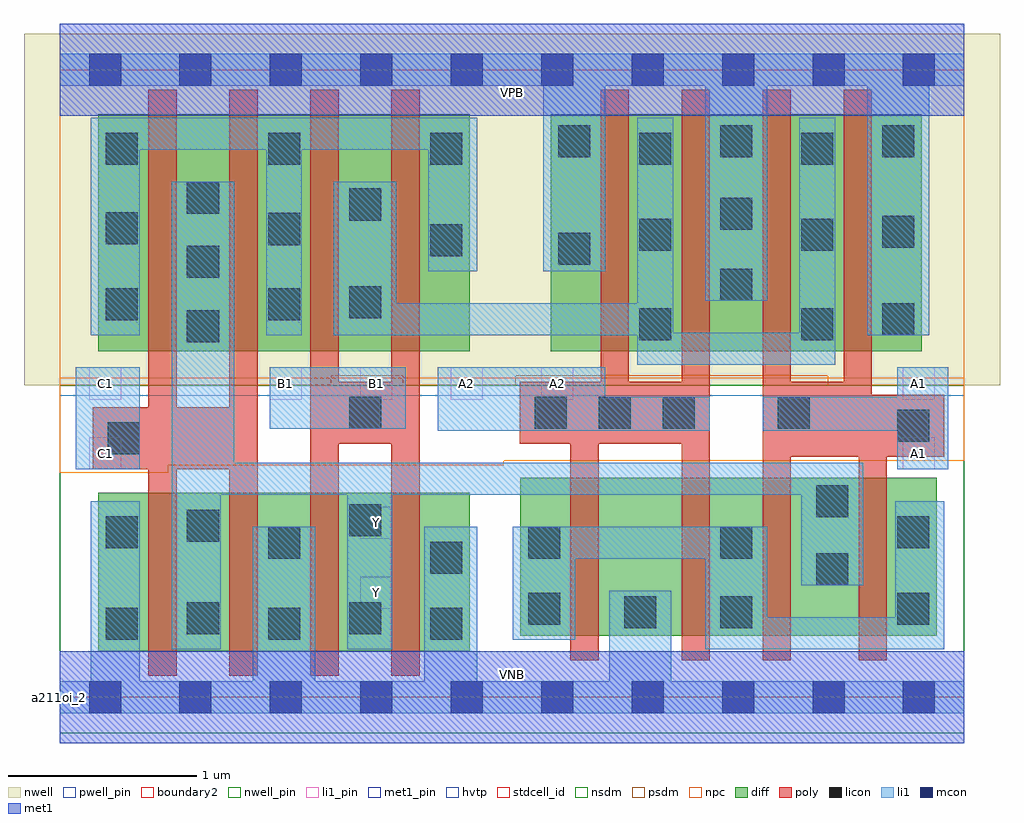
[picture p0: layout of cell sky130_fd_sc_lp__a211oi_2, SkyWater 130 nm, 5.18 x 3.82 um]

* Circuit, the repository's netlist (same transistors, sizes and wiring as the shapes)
* Copyright 2020 The SkyWater PDK Authors
*
* Licensed under the Apache License, Version 2.0 (the "License");
* you may not use this file except in compliance with the License.
* You may obtain a copy of the License at
*
*     https://www.apache.org/licenses/LICENSE-2.0
*
* Unless required by applicable law or agreed to in writing, software
* distributed under the License is distributed on an "AS IS" BASIS,
* WITHOUT WARRANTIES OR CONDITIONS OF ANY KIND, either express or implied.
* See the License for the specific language governing permissions and
* limitations under the License.
*
* SPDX-License-Identifier: Apache-2.0

.SUBCKT sky130_fd_sc_lp__a211oi_2 A1 A2 B1 C1 VGND VNB VPB VPWR Y
*.PININFO A1:I A2:I B1:I C1:I VGND:I VNB:I VPB:I VPWR:I Y:O
MMPA0 pndA A1 VPWR VPB sky130_fd_pr__pfet_01v8_hvt m=2 w=1.26U l=0.15U mult=1 sa=0.265
+ sb=0.265 sd=0.28 area=0.063 perim=1.14
MMPA1 pndA A2 VPWR VPB sky130_fd_pr__pfet_01v8_hvt m=2 w=1.26U l=0.15U mult=1 sa=0.265
+ sb=0.265 sd=0.28 area=0.063 perim=1.14
MMPB0 pndB B1 pndA VPB sky130_fd_pr__pfet_01v8_hvt m=2 w=1.26U l=0.15U mult=1 sa=0.265
+ sb=0.265 sd=0.28 area=0.063 perim=1.14
MMPC0 Y C1 pndB VPB sky130_fd_pr__pfet_01v8_hvt m=2 w=1.26U l=0.15U mult=1 sa=0.265
+ sb=0.265 sd=0.28 area=0.063 perim=1.14
MMNA0 Y A1 sndA1 VNB sky130_fd_pr__nfet_01v8 m=2 w=0.84U l=0.15U mult=1 sa=0.265
+ sb=0.265 sd=0.28 area=0.063 perim=1.14
MMNA1 sndA1 A2 VGND VNB sky130_fd_pr__nfet_01v8 m=2 w=0.84U l=0.15U mult=1 sa=0.265
+ sb=0.265 sd=0.28 area=0.063 perim=1.14
MMNB0 Y B1 VGND VNB sky130_fd_pr__nfet_01v8 m=2 w=0.84U l=0.15U mult=1 sa=0.265
+ sb=0.265 sd=0.28 area=0.063 perim=1.14
MMNC0 Y C1 VGND VNB sky130_fd_pr__nfet_01v8 m=2 w=0.84U l=0.15U mult=1 sa=0.265
+ sb=0.265 sd=0.28 area=0.063 perim=1.14
.ENDS sky130_fd_sc_lp__a211oi_2

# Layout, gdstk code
import gdstk
lib = gdstk.Library(unit=1e-6, precision=1e-09)
def R(c, l, rs):  # rectangles x0, y0, x1, y1
    for r in rs: c.add(gdstk.rectangle(r[:2], r[2:], *l))
def A(c, l, x, y, w, h, nx, ny, dx, dy):  # array of equal rectangles
    R(c, l, [(x+i*dx, y+j*dy, x+i*dx+w, y+j*dy+h) for i in range(nx) for j in range(ny)])
def P(c, l, *ps):  # polygons
    for p in ps: c.add(gdstk.Polygon(p, *l))
nwell_pin = (64, 16)
nwell = (64, 20)
diff = (65, 20)
poly = (66, 20)
licon = (66, 44)
li1_pin = (67, 16)
li1 = (67, 20)
mcon = (67, 44)
met1_pin = (68, 16)
met1 = (68, 20)
hvtp = (78, 44)
stdcell_id = (81, 4)
nsdm = (93, 44)
psdm = (94, 20)
npc = (95, 20)
pwell_pin = (122, 16)
boundary2 = (236, 0)

sky130_fd_sc_lp__a211oi_ = lib.new_cell('sky130_fd_sc_lp__a211oi_2')
R(sky130_fd_sc_lp__a211oi_, nwell_pin, [(0,3.085,4.8,3.33)])
R(sky130_fd_sc_lp__a211oi_, nwell, [(-0.19,1.655,4.99,3.52)])
R(sky130_fd_sc_lp__a211oi_, diff, [(0.205,0.245,2.175,1.085), (2.445,0.325,4.655,1.165), (0.205,1.835,2.175,3.095), (2.605,1.835,4.575,3.095)])
P(sky130_fd_sc_lp__a211oi_, poly, [(1.05,3.225),(0.9,3.225),(0.9,1.54),(0.62,1.54),(0.62,3.225),(0.47,3.225),(0.47,1.54),(0.175,1.54),(0.175,1.21),(0.47,1.21),(0.47,0.115),(0.62,0.115),(0.62,1.21),(0.9,1.21),(0.9,0.115),(1.05,0.115)],
  [(1.91,3.225),(1.76,3.225),(1.76,1.675),(1.48,1.675),(1.48,3.225),(1.33,3.225),(1.33,0.115),(1.48,0.115),(1.48,1.345),(1.76,1.345),(1.76,0.115),(1.91,0.115)],
  [(3.45,3.225),(3.3,3.225),(3.3,1.675),(3.02,1.675),(3.02,3.225),(2.87,3.225),(2.87,1.675),(2.44,1.675),(2.44,1.345),(2.71,1.345),(2.71,0.195),(2.86,0.195),(2.86,1.345),(3.3,1.345),(3.3,0.195),(3.45,0.195)],
  [(4.695,1.605),(4.31,1.605),(4.31,3.225),(4.16,3.225),(4.16,1.675),(3.88,1.675),(3.88,3.225),(3.73,3.225),(3.73,0.195),(3.88,0.195),(3.88,1.275),(4.24,1.275),(4.24,0.195),(4.39,0.195),(4.39,1.275),(4.695,1.275)])
A(sky130_fd_sc_lp__a211oi_, licon, 0.245, 0.305, 0.17, 0.17, 3, 2, 0.86, 2.52)
A(sky130_fd_sc_lp__a211oi_, licon, 2.52, 1.425, 0.17, 0.17, 3, 1, 0.34, 0)
A(sky130_fd_sc_lp__a211oi_, licon, 0.675, 1.885, 0.17, 0.17, 1, 3, 0, 0.34)
A(sky130_fd_sc_lp__a211oi_, licon, 2.645, 2.865, 0.17, 0.17, 3, 1, 0.86, 0)
R(sky130_fd_sc_lp__a211oi_, licon, [(0.675,0.335,0.845,0.505), (1.535,0.335,1.705,0.505), (2.995,0.365,3.165,0.535), (3.505,0.365,3.675,0.535), (2.485,0.385,2.655,0.555), (4.445,0.385,4.615,0.555), (4.015,0.595,4.185,0.765), (1.965,0.655,2.135,0.825), (1.105,0.735,1.275,0.905), (2.485,0.735,2.655,0.905), (3.505,0.735,3.675,0.905), (0.245,0.79,0.415,0.96), (4.445,0.79,4.615,0.96), (0.675,0.825,0.845,0.995), (1.535,0.855,1.705,1.025), (4.015,0.955,4.185,1.125), (0.255,1.29,0.425,1.46), (4.445,1.355,4.615,1.525), (1.535,1.425,1.705,1.595), (3.81,1.425,3.98,1.595), (3.075,1.895,3.245,2.065), (3.935,1.895,4.105,2.065), (4.365,1.92,4.535,2.09), (0.245,2,0.415,2.17), (1.105,2,1.275,2.17), (1.535,2.01,1.705,2.18), (3.505,2.105,3.675,2.275), (2.645,2.295,2.815,2.465), (1.965,2.34,2.135,2.51), (3.075,2.37,3.245,2.54), (3.935,2.37,4.105,2.54), (4.365,2.385,4.535,2.555), (1.105,2.4,1.275,2.57), (0.245,2.405,0.415,2.575), (3.505,2.48,3.675,2.65), (1.535,2.53,1.705,2.7), (3.075,2.825,3.245,2.995), (3.935,2.825,4.105,2.995)])
A(sky130_fd_sc_lp__a211oi_, li1_pin, 1.115, 1.58, 0.17, 0.17, 4, 1, 0.48, 0)
R(sky130_fd_sc_lp__a211oi_, li1_pin, [(1.595,0.47,1.765,0.64), (1.595,0.84,1.765,1.01), (0.155,1.21,0.325,1.38), (4.475,1.21,4.645,1.38), (0.155,1.58,0.325,1.75), (4.475,1.58,4.645,1.75)])
R(sky130_fd_sc_lp__a211oi_, li1, [(0.085,1.21,0.425,1.75), (1.115,1.425,1.835,1.75)])
P(sky130_fd_sc_lp__a211oi_, li1, [(2.565,2.26),(2.565,3.245),(0,3.245),(0,3.415),(4.8,3.415),(4.8,3.245),(4.615,3.245),(4.615,1.92),(4.285,1.92),(4.285,3.245),(3.755,3.245),(3.755,2.105),(3.425,2.105),(3.425,3.245),(2.895,3.245),(2.895,2.26)],
  [(1.935,0.085),(1.935,0.905),(2.215,0.905),(2.215,0.085),(2.915,0.085),(2.915,0.565),(3.245,0.565),(3.245,0.085),(4.8,0.085),(4.8,-0.085),(0,-0.085),(0,0.085),(0.165,0.085),(0.165,1.04),(0.425,1.04),(0.425,0.085),(1.025,0.085),(1.025,0.905),(1.355,0.905),(1.355,0.085)],
  [(1.525,0.255),(1.525,1.075),(0.855,1.075),(0.855,0.255),(0.595,0.255),(0.595,2.735),(0.925,2.735),(0.925,1.245),(4.265,1.245),(4.265,0.595),(3.935,0.595),(3.935,1.075),(1.765,1.075),(1.765,0.255)],
  [(4.715,1.75),(4.445,1.75),(4.445,1.595),(3.73,1.595),(3.73,1.415),(4.445,1.415),(4.445,1.21),(4.715,1.21)],
  [(3.45,1.595),(2.895,1.595),(2.895,1.75),(2.005,1.75),(2.005,1.415),(3.45,1.415)],
  [(3.255,1.935),(3.925,1.935),(3.925,3.075),(4.115,3.075),(4.115,1.765),(3.065,1.765),(3.065,1.92),(1.455,1.92),(1.455,2.735),(1.785,2.735),(1.785,2.09),(3.065,2.09),(3.065,3.075),(3.255,3.075)],
  [(1.955,2.905),(1.285,2.905),(1.285,1.92),(1.095,1.92),(1.095,2.905),(0.425,2.905),(0.425,1.92),(0.165,1.92),(0.165,3.075),(2.215,3.075),(2.215,2.26),(1.955,2.26)],
  [(3.755,0.425),(4.435,0.425),(4.435,1.04),(4.695,1.04),(4.695,0.255),(3.425,0.255),(3.425,0.735),(2.735,0.735),(2.735,0.305),(2.405,0.305),(2.405,0.905),(3.755,0.905)])
A(sky130_fd_sc_lp__a211oi_, mcon, 0.155, -0.085, 0.17, 0.17, 10, 2, 0.48, 3.33)
R(sky130_fd_sc_lp__a211oi_, met1_pin, [(0,0,4.8,0.245), (0,3.085,4.8,3.33)])
R(sky130_fd_sc_lp__a211oi_, met1, [(0,-0.245,4.8,0.245), (0,3.085,4.8,3.575)])
R(sky130_fd_sc_lp__a211oi_, hvtp, [(0,1.6,4.8,3.33)])
R(sky130_fd_sc_lp__a211oi_, stdcell_id, [(0,0,4.8,3.33)])
R(sky130_fd_sc_lp__a211oi_, nsdm, [(0,-0.19,4.8,1.655)])
P(sky130_fd_sc_lp__a211oi_, psdm, [(4.8,3.52),(0,3.52),(0,1.655),(1.44,1.655),(1.44,1.705),(1.82,1.705),(1.82,1.655),(2.42,1.655),(2.42,1.705),(4.075,1.705),(4.075,1.655),(4.8,1.655)])
P(sky130_fd_sc_lp__a211oi_, npc, [(4.8,1.695),(0,1.695),(0,1.19),(0.575,1.19),(0.575,1.23),(2.355,1.23),(2.355,1.255),(4.8,1.255)])
R(sky130_fd_sc_lp__a211oi_, pwell_pin, [(0,0,4.8,0.245)])
R(sky130_fd_sc_lp__a211oi_, boundary2, [(0,0,4.8,3.33)])
sky130_fd_sc_lp__a211oi_.add(gdstk.Label('VNB', (2.4,0.123), layer=64, texttype=59))
sky130_fd_sc_lp__a211oi_.add(gdstk.Label('VPB', (2.4,3.208), layer=64, texttype=5))
sky130_fd_sc_lp__a211oi_.add(gdstk.Label('a211oi_2', (0,0), layer=83, texttype=44))
sky130_fd_sc_lp__a211oi_.add(gdstk.Label('VPWR', (2.4,3.208), layer=68, texttype=5))
sky130_fd_sc_lp__a211oi_.add(gdstk.Label('VGND', (2.4,0.123), layer=68, texttype=5))
sky130_fd_sc_lp__a211oi_.add(gdstk.Label('Y', (1.68,0.555), layer=67, texttype=5))
sky130_fd_sc_lp__a211oi_.add(gdstk.Label('Y', (1.68,0.925), layer=67, texttype=5))
sky130_fd_sc_lp__a211oi_.add(gdstk.Label('A1', (4.56,1.295), layer=67, texttype=5))
sky130_fd_sc_lp__a211oi_.add(gdstk.Label('A1', (4.56,1.665), layer=67, texttype=5))
sky130_fd_sc_lp__a211oi_.add(gdstk.Label('A2', (2.16,1.665), layer=67, texttype=5))
sky130_fd_sc_lp__a211oi_.add(gdstk.Label('A2', (2.64,1.665), layer=67, texttype=5))
sky130_fd_sc_lp__a211oi_.add(gdstk.Label('B1', (1.2,1.665), layer=67, texttype=5))
sky130_fd_sc_lp__a211oi_.add(gdstk.Label('B1', (1.68,1.665), layer=67, texttype=5))
sky130_fd_sc_lp__a211oi_.add(gdstk.Label('C1', (0.24,1.295), layer=67, texttype=5))
sky130_fd_sc_lp__a211oi_.add(gdstk.Label('C1', (0.24,1.665), layer=67, texttype=5))

lib.write_gds('sky130_fd_sc_lp__a211oi_2.gds')
